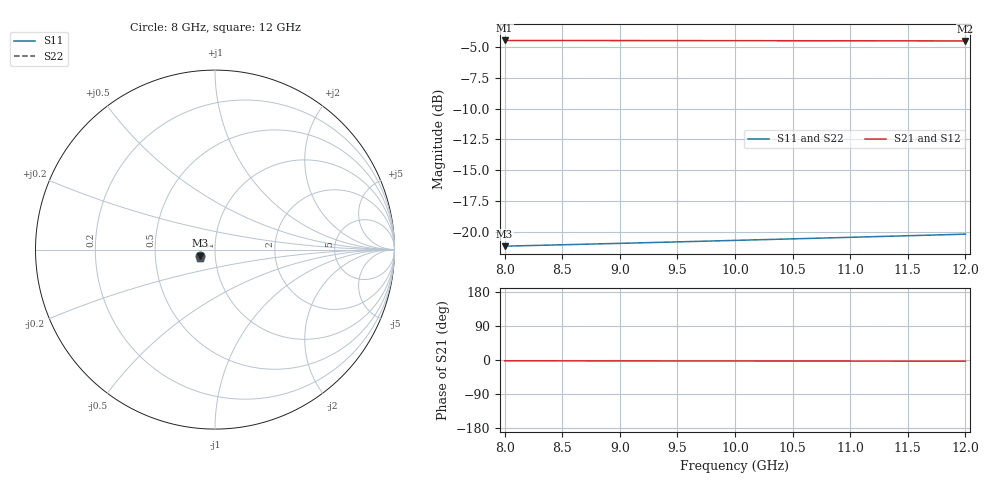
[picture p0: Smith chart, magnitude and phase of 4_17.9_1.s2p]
! Created Wed Oct 21 16:17:29 2020
# ghz S db R 50
! 2 Port Network Data from SP1.SP block
! freq  dbS11  angS11  dbS21  angS21  dbS12  angS12  dbS22  angS22
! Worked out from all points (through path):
!   9 points, 8 GHz to 12 GHz, reference 50 ohm
!   highest |S21| = -4.45 dB at 8 GHz (marker M1); lowest = -4.5 dB at 12 GHz (marker M2)
!   lowest |S11| = -21.2 dB at 8 GHz (marker M3), VSWR 1.19, Z = 42.4 - j2.84 ohm
!   |S11| at or under -10 dB: start of sweep to end of sweep
!   |S22| runs from -21.2 to -20.2 dB; largest |S21 - S12| = 6.7e-16
8  -21.17 -157.7  -4.45 -2.1  -4.45 -2.1  -21.17 -157.7
8.5  -21.06 -156.5  -4.45 -2.2  -4.45 -2.2  -21.06 -156.5
9  -20.94 -155.5  -4.46 -2.3  -4.46 -2.3  -20.94 -155.5
9.5  -20.83 -154.4  -4.46 -2.5  -4.46 -2.5  -20.83 -154.4
10  -20.70 -153.4  -4.47 -2.6  -4.47 -2.6  -20.70 -153.4
10.5  -20.58 -152.5  -4.47 -2.7  -4.47 -2.7  -20.58 -152.5
11  -20.45 -151.5  -4.48 -2.9  -4.48 -2.9  -20.45 -151.5
11.5  -20.33 -150.6  -4.48 -3.0  -4.48 -3.0  -20.33 -150.6
12  -20.20 -149.8  -4.49 -3.1  -4.49 -3.1  -20.20 -149.8
